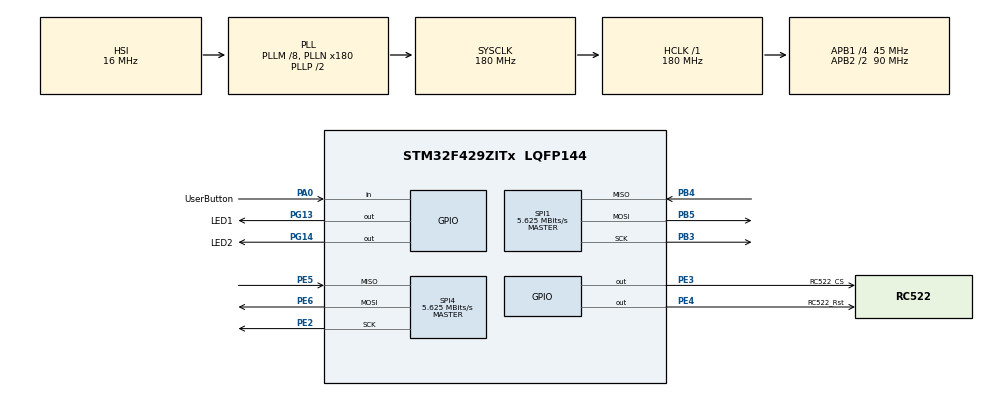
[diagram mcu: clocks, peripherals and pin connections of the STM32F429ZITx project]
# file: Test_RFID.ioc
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Mcu.Family=STM32F4
Mcu.Name=STM32F429ZITx
Mcu.Package=LQFP144
NVIC.PriorityGroup=NVIC_PRIORITYGROUP_4
NVIC.SPI4_IRQn=true\:0\:0\:false\:false\:true\:true\:true\:true
PA0/WKUP.GPIO_Label=UserButton
PA0/WKUP.Signal=GPIO_Input
PB3.Mode=Full_Duplex_Master
PB3.Signal=SPI1_SCK
PB4.Mode=Full_Duplex_Master
PB4.Signal=SPI1_MISO
PB5.Mode=Full_Duplex_Master
PB5.Signal=SPI1_MOSI
PE2.Mode=Full_Duplex_Master
PE2.Signal=SPI4_SCK
PE3.GPIO_Label=RC522_CS
PE3.Signal=GPIO_Output
PE4.GPIO_Label=RC522_Rst
PE4.Signal=GPIO_Output
PE5.Mode=Full_Duplex_Master
PE5.Signal=SPI4_MISO
PE6.Mode=Full_Duplex_Master
PE6.Signal=SPI4_MOSI
PG13.GPIO_Label=LED1
PG13.Signal=GPIO_Output
PG14.GPIO_Label=LED2
PG14.Signal=GPIO_Output
ProjectManager.HeapSize=0x200
ProjectManager.StackSize=0x400
ProjectManager.TargetToolchain=STM32CubeIDE
RCC.48MHZClocksFreq_Value=90000000
RCC.AHBFreq_Value=180000000
RCC.APB1CLKDivider=RCC_HCLK_DIV4
RCC.APB1Freq_Value=45000000
RCC.APB1TimFreq_Value=90000000
RCC.APB2CLKDivider=RCC_HCLK_DIV2
RCC.APB2Freq_Value=90000000
RCC.APB2TimFreq_Value=180000000
RCC.CortexFreq_Value=180000000
RCC.HCLKFreq_Value=180000000
RCC.HSE_VALUE=25000000
RCC.HSI_VALUE=16000000
RCC.LSE_VALUE=32768
RCC.PLLM=8
RCC.PLLN=180
RCC.SYSCLKFreq_VALUE=180000000
RCC.SYSCLKSource=RCC_SYSCLKSOURCE_PLLCLK
RCC.VCOOutputFreq_Value=360000000
SPI1.BaudRatePrescaler=SPI_BAUDRATEPRESCALER_16
SPI1.CRCCalculation=SPI_CRCCALCULATION_DISABLE
SPI1.CalculateBaudRate=5.625 MBits/s
SPI1.Direction=SPI_DIRECTION_2LINES
SPI1.Mode=SPI_MODE_MASTER
SPI1.VirtualType=VM_MASTER
SPI4.BaudRatePrescaler=SPI_BAUDRATEPRESCALER_16
SPI4.CalculateBaudRate=5.625 MBits/s
SPI4.Direction=SPI_DIRECTION_2LINES
SPI4.Mode=SPI_MODE_MASTER
SPI4.VirtualType=VM_MASTER
board=custom

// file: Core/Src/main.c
/* USER CODE BEGIN Header */
/**
 ******************************************************************************
 * @file           : main.c
 * @brief          : Main program body
 ******************************************************************************
 * @attention
 *
 * Copyright (c) 2023 STMicroelectronics.
 * All rights reserved.
 *
 * This software is licensed under terms that can be found in the LICENSE file
 * in the root directory of this software component.
 * If no LICENSE file comes with this software, it is provided AS-IS.
 *
 ******************************************************************************
 */
/* USER CODE END Header */
#include "main.h"

/* USER CODE BEGIN Includes */
#include <string.h>
#include <stdio.h>
#include "MFRC522.h"
/* USER CODE END Includes */

SPI_HandleTypeDef hspi1;
SPI_HandleTypeDef hspi4;

/* USER CODE BEGIN PV */

u_char status, cardstr[MAX_LEN+1];
u_char UID[5];
u_char accesscardUID[5] = {0, 0, 0, 0, 0};

static int cardhere = 0;
static int cardherecnt = 0;
static int defineaccescard = 0;
static int defineaccescardtimer = 0;

/* USER CODE END PV */

void SystemClock_Config(void);
static void MX_GPIO_Init(void);
static void MX_SPI1_Init(void);
static void MX_SPI4_Init(void);

int main(void)
{

  /* MCU Configuration--------------------------------------------------------*/

  /* Reset of all peripherals, Initializes the Flash interface and the Systick. */
  HAL_Init();

  /* Configure the system clock */
  SystemClock_Config();

  /* Initialize all configured peripherals */
  MX_GPIO_Init();
  MX_SPI1_Init();
  MX_SPI4_Init();
  /* USER CODE BEGIN 2 */

	HAL_GPIO_WritePin(LED1_GPIO_Port, LED1_Pin, RESET);							//Reset user Led's
	HAL_GPIO_WritePin(LED2_GPIO_Port, LED2_Pin, RESET);

	HAL_GPIO_WritePin(RC522_Rst_GPIO_Port, RC522_Rst_Pin, GPIO_PIN_SET);			//Disable reset (HIGH = no reset)
	HAL_Delay(100);																//Delay Function for int (has to be here)
	MFRC522_Init();																//Initialize the RFID Reader
	HAL_Delay(1000);																//Delay Function for int (has to be here)

	status = Read_MFRC522(VersionReg);											//Get information about current version

  /* USER CODE END 2 */

  /* Infinite loop */
  /* USER CODE BEGIN WHILE */
	while (1)
	{

//		status = MFRC522_Request(PICC_REQIDL, cardstr);		//functions of library
//		status = MFRC522_Anticoll(cardstr);
		status = MFRC522_FindCardNonBlock(cardstr);

		if(status == MI_OK){									//when card number is aviable
			memcpy(UID, cardstr, 5);							//Copy it into UID array (is 5 big)
			cardhere = 1;										//now card is here
			//set back read card number
			memset(cardstr, 0, MAX_LEN);

			if(!defineaccescard){
				if((UID[0] == accesscardUID[0]) && (UID[1] == accesscardUID[1]) && (UID[2] == accesscardUID[2]) && (UID[3] == accesscardUID[3]) && (UID[4] == accesscardUID[4])){	//See if a specific Card UID is read
					HAL_GPIO_WritePin(LED1_GPIO_Port, LED1_Pin, SET);											//is yes, turn led on (only TESTS)
				}
				else{
					HAL_GPIO_WritePin(LED2_GPIO_Port, LED2_Pin, SET);
				}
			}
		}

		if(cardhere){											//for better visualizing
			cardherecnt++;									//let a timer run
			if(cardherecnt >= 2000){							//and after 5s reset UID (Card Number)
				UID[0] = 0;
				UID[1] = 0;
				UID[2] = 0;
				UID[3] = 0;
				UID[4] = 0;

				cardhere = 0;									//no card here
				cardherecnt = 0;								//reset timer value
				HAL_GPIO_WritePin(LED1_GPIO_Port, LED1_Pin, RESET);
				HAL_GPIO_WritePin(LED2_GPIO_Port, LED2_Pin, RESET);
			}

			if(defineaccescard){
				memcpy(accesscardUID, UID, 5);				//Copy it into accesscardUID array (is 5 big)
				defineaccescard = 0;
				defineaccescardtimer = 0;
			}
		}

		if(HAL_GPIO_ReadPin(UserButton_GPIO_Port, UserButton_Pin)){
			defineaccescard = 1;
			defineaccescardtimer = 1;
		}

		if(defineaccescard){
			defineaccescardtimer++;
			if(defineaccescardtimer >= 2000){
				defineaccescard = 0;
				defineaccescardtimer = 0;
			}
		}

		HAL_Delay(1);

    /* USER CODE END WHILE */

	}
}

void SystemClock_Config(void)
{
  RCC_OscInitTypeDef RCC_OscInitStruct = {0};
  RCC_ClkInitTypeDef RCC_ClkInitStruct = {0};

  /** Configure the main internal regulator output voltage
  */
  __HAL_RCC_PWR_CLK_ENABLE();
  __HAL_PWR_VOLTAGESCALING_CONFIG(PWR_REGULATOR_VOLTAGE_SCALE1);

  /** Initializes the RCC Oscillators according to the specified parameters
  * in the RCC_OscInitTypeDef structure.
  */
  RCC_OscInitStruct.OscillatorType = RCC_OSCILLATORTYPE_HSI;
  RCC_OscInitStruct.HSIState = RCC_HSI_ON;
  RCC_OscInitStruct.HSICalibrationValue = RCC_HSICALIBRATION_DEFAULT;
  RCC_OscInitStruct.PLL.PLLState = RCC_PLL_ON;
  RCC_OscInitStruct.PLL.PLLSource = RCC_PLLSOURCE_HSI;
  RCC_OscInitStruct.PLL.PLLM = 8;
  RCC_OscInitStruct.PLL.PLLN = 180;
  RCC_OscInitStruct.PLL.PLLP = RCC_PLLP_DIV2;
  RCC_OscInitStruct.PLL.PLLQ = 4;
  if (HAL_RCC_OscConfig(&RCC_OscInitStruct) != HAL_OK)
  {
    Error_Handler();
  }

  /** Activate the Over-Drive mode
  */
  if (HAL_PWREx_EnableOverDrive() != HAL_OK)
  {
    Error_Handler();
  }

  /** Initializes the CPU, AHB and APB buses clocks
  */
  RCC_ClkInitStruct.ClockType = RCC_CLOCKTYPE_HCLK|RCC_CLOCKTYPE_SYSCLK
                              |RCC_CLOCKTYPE_PCLK1|RCC_CLOCKTYPE_PCLK2;
  RCC_ClkInitStruct.SYSCLKSource = RCC_SYSCLKSOURCE_PLLCLK;
  RCC_ClkInitStruct.AHBCLKDivider = RCC_SYSCLK_DIV1;
  RCC_ClkInitStruct.APB1CLKDivider = RCC_HCLK_DIV4;
  RCC_ClkInitStruct.APB2CLKDivider = RCC_HCLK_DIV2;

  if (HAL_RCC_ClockConfig(&RCC_ClkInitStruct, FLASH_LATENCY_5) != HAL_OK)
  {
    Error_Handler();
  }
}

static void MX_SPI1_Init(void)
{

  /* SPI1 parameter configuration*/
  hspi1.Instance = SPI1;
  hspi1.Init.Mode = SPI_MODE_MASTER;
  hspi1.Init.Direction = SPI_DIRECTION_2LINES;
  hspi1.Init.DataSize = SPI_DATASIZE_8BIT;
  hspi1.Init.CLKPolarity = SPI_POLARITY_LOW;
  hspi1.Init.CLKPhase = SPI_PHASE_1EDGE;
  hspi1.Init.NSS = SPI_NSS_SOFT;
  hspi1.Init.BaudRatePrescaler = SPI_BAUDRATEPRESCALER_16;
  hspi1.Init.FirstBit = SPI_FIRSTBIT_MSB;
  hspi1.Init.TIMode = SPI_TIMODE_DISABLE;
  hspi1.Init.CRCCalculation = SPI_CRCCALCULATION_DISABLE;
  hspi1.Init.CRCPolynomial = 10;
  if (HAL_SPI_Init(&hspi1) != HAL_OK)
  {
    Error_Handler();
  }
  /* USER CODE BEGIN SPI1_Init 2 */
  HAL_NVIC_EnableIRQ(SPI4_IRQn);

  /* USER CODE END SPI1_Init 2 */

}

static void MX_SPI4_Init(void)
{

  /* SPI4 parameter configuration*/
  hspi4.Instance = SPI4;
  hspi4.Init.Mode = SPI_MODE_MASTER;
  hspi4.Init.Direction = SPI_DIRECTION_2LINES;
  hspi4.Init.DataSize = SPI_DATASIZE_8BIT;
  hspi4.Init.CLKPolarity = SPI_POLARITY_LOW;
  hspi4.Init.CLKPhase = SPI_PHASE_1EDGE;
  hspi4.Init.NSS = SPI_NSS_SOFT;
  hspi4.Init.BaudRatePrescaler = SPI_BAUDRATEPRESCALER_16;
  hspi4.Init.FirstBit = SPI_FIRSTBIT_MSB;
  hspi4.Init.TIMode = SPI_TIMODE_DISABLE;
  hspi4.Init.CRCCalculation = SPI_CRCCALCULATION_DISABLE;
  hspi4.Init.CRCPolynomial = 10;
  if (HAL_SPI_Init(&hspi4) != HAL_OK)
  {
    Error_Handler();
  }
  /* USER CODE BEGIN SPI4_Init 2 */

  //HAL_NVIC_EnableIRQ(SPI4_IRQn);
  /* USER CODE END SPI4_Init 2 */

}

static void MX_GPIO_Init(void)
{
  GPIO_InitTypeDef GPIO_InitStruct = {0};

  /* GPIO Ports Clock Enable */
  __HAL_RCC_GPIOE_CLK_ENABLE();
  __HAL_RCC_GPIOA_CLK_ENABLE();
  __HAL_RCC_GPIOG_CLK_ENABLE();
  __HAL_RCC_GPIOB_CLK_ENABLE();

  /*Configure GPIO pin Output Level */
  HAL_GPIO_WritePin(GPIOE, RC522_CS_Pin|RC522_Rst_Pin, GPIO_PIN_RESET);

  /*Configure GPIO pin Output Level */
  HAL_GPIO_WritePin(GPIOG, LED1_Pin|LED2_Pin, GPIO_PIN_RESET);

  /*Configure GPIO pins : RC522_CS_Pin RC522_Rst_Pin */
  GPIO_InitStruct.Pin = RC522_CS_Pin|RC522_Rst_Pin;
  GPIO_InitStruct.Mode = GPIO_MODE_OUTPUT_PP;
  GPIO_InitStruct.Pull = GPIO_NOPULL;
  GPIO_InitStruct.Speed = GPIO_SPEED_FREQ_LOW;
  HAL_GPIO_Init(GPIOE, &GPIO_InitStruct);

  /*Configure GPIO pin : UserButton_Pin */
  GPIO_InitStruct.Pin = UserButton_Pin;
  GPIO_InitStruct.Mode = GPIO_MODE_INPUT;
  GPIO_InitStruct.Pull = GPIO_NOPULL;
  HAL_GPIO_Init(UserButton_GPIO_Port, &GPIO_InitStruct);

  /*Configure GPIO pins : LED1_Pin LED2_Pin */
  GPIO_InitStruct.Pin = LED1_Pin|LED2_Pin;
  GPIO_InitStruct.Mode = GPIO_MODE_OUTPUT_PP;
  GPIO_InitStruct.Pull = GPIO_NOPULL;
  GPIO_InitStruct.Speed = GPIO_SPEED_FREQ_LOW;
  HAL_GPIO_Init(GPIOG, &GPIO_InitStruct);

}

void Error_Handler(void)
{
	__disable_irq();
	while (1)
	{
	}
}
